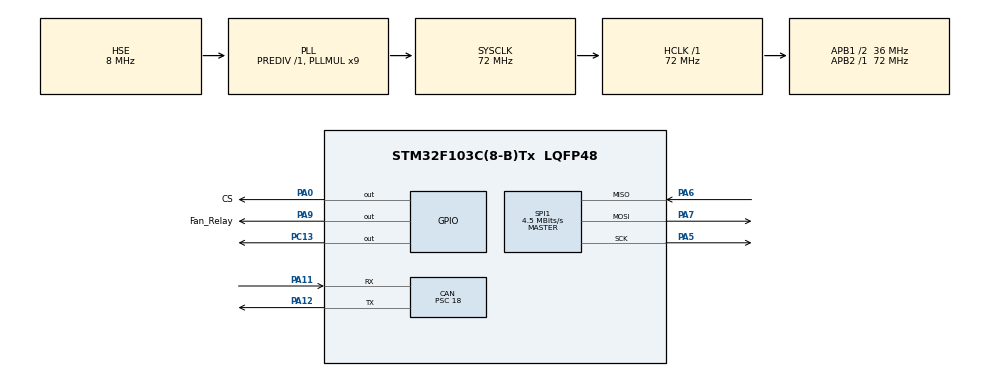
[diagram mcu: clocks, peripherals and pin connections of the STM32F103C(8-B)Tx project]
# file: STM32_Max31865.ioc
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CAN.BS1=CAN_BS1_2TQ
CAN.CalculateBaudRate=500000
CAN.CalculateTimeBit=2000
CAN.CalculateTimeQuantum=500.0
CAN.Mode=CAN_MODE_NORMAL
CAN.Prescaler=18
Mcu.Family=STM32F1
Mcu.Name=STM32F103C(8-B)Tx
Mcu.Package=LQFP48
NVIC.PriorityGroup=NVIC_PRIORITYGROUP_4
NVIC.USB_LP_CAN1_RX0_IRQn=true\:0\:0\:false\:false\:true\:true\:true\:true
PA0-WKUP.GPIO_Label=CS
PA0-WKUP.Signal=GPIO_Output
PA11.Mode=CAN_Activate
PA11.Signal=CAN_RX
PA12.Mode=CAN_Activate
PA12.Signal=CAN_TX
PA13.Mode=Serial_Wire
PA13.Signal=SYS_JTMS-SWDIO
PA14.Mode=Serial_Wire
PA14.Signal=SYS_JTCK-SWCLK
PA5.Mode=Full_Duplex_Master
PA5.Signal=SPI1_SCK
PA6.Mode=Full_Duplex_Master
PA6.Signal=SPI1_MISO
PA7.Mode=Full_Duplex_Master
PA7.Signal=SPI1_MOSI
PA9.GPIO_Label=Fan_Relay
PA9.Signal=GPIO_Output
PC13-TAMPER-RTC.Signal=GPIO_Output
PD0-OSC_IN.Mode=HSE-External-Oscillator
PD0-OSC_IN.Signal=RCC_OSC_IN
PD1-OSC_OUT.Mode=HSE-External-Oscillator
PD1-OSC_OUT.Signal=RCC_OSC_OUT
ProjectManager.HeapSize=0x200
ProjectManager.StackSize=0x400
ProjectManager.TargetToolchain=STM32CubeIDE
RCC.AHBFreq_Value=72000000
RCC.APB1CLKDivider=RCC_HCLK_DIV2
RCC.APB1Freq_Value=36000000
RCC.APB1TimFreq_Value=72000000
RCC.APB2Freq_Value=72000000
RCC.APB2TimFreq_Value=72000000
RCC.HCLKFreq_Value=72000000
RCC.PLLMUL=RCC_PLL_MUL9
RCC.PLLSourceVirtual=RCC_PLLSOURCE_HSE
RCC.SYSCLKFreq_VALUE=72000000
RCC.SYSCLKSource=RCC_SYSCLKSOURCE_PLLCLK
RCC.USBFreq_Value=72000000
SPI1.BaudRatePrescaler=SPI_BAUDRATEPRESCALER_16
SPI1.CLKPhase=SPI_PHASE_2EDGE
SPI1.CalculateBaudRate=4.5 MBits/s
SPI1.Direction=SPI_DIRECTION_2LINES
SPI1.Mode=SPI_MODE_MASTER
SPI1.VirtualType=VM_MASTER
board=custom

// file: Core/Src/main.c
/* USER CODE BEGIN Header */
/**
  ******************************************************************************
  * @file           : main.c
  * @brief          : Main program body
  ******************************************************************************
  * @attention
  *
  * <h2><center>&copy; Copyright (c) 2021 STMicroelectronics.
  * All rights reserved.</center></h2>
  *
  * This software component is licensed by ST under BSD 3-Clause license,
  * the "License"; You may not use this file except in compliance with the
  * License. You may obtain a copy of the License at:
  *                        opensource.org/licenses/BSD-3-Clause
  *
  ******************************************************************************
  */
/* USER CODE END Header */
#include "main.h"
#include "stdbool.h"
/* USER CODE BEGIN Includes */
#include "MAX31865_lib.h"
/* USER CODE END Includes */

CAN_HandleTypeDef hcan;

SPI_HandleTypeDef hspi1;

/* USER CODE BEGIN PV */
float PT100_Temperature;
uint8_t PSI_value;
/* USER CODE END PV */

void SystemClock_Config(void);
static void MX_GPIO_Init(void);
static void MX_SPI1_Init(void);
static void MX_CAN_Init(void);

/* USER CODE BEGIN 0 */

CAN_TxHeaderTypeDef TxHeader;
CAN_RxHeaderTypeDef RxHeader;

uint8_t TxData[8];
uint8_t RxData[8];

uint16_t temp;

uint32_t TxMailbox;

uint32_t previousMillis = 0; // Biến lưu th�?i điểm trước đó
const uint32_t interval = 500; // Chu kỳ 500ms

int datacheck = 0;

bool fan_mode = 0;	// 0 mean auto control, 1 mean manual control
bool fan_status = 0; // 0 mean off, 1 mean on

void readTemperatureNonBlocking()
{
    uint32_t currentMillis = HAL_GetTick(); // Lấy th�?i gian hiện tại

    if (currentMillis - previousMillis >= interval)
    {
        previousMillis = currentMillis; // Cập nhật th�?i gian mới nhất

        // �?�?c nhiệt độ từ cảm biến PT100
        PT100_Temperature = MAX31865_Get_Temperature();
    }
}

void HAL_CAN_RxFifo0MsgPendingCallback(CAN_HandleTypeDef *hcan)
{
	HAL_CAN_GetRxMessage(hcan, CAN_RX_FIFO0, &RxHeader, RxData);
	if (RxHeader.DLC == 2)
	{
		datacheck = 1;
	}
}

/* USER CODE END 0 */

int main(void)
{

  /* MCU Configuration--------------------------------------------------------*/

  /* Reset of all peripherals, Initializes the Flash interface and the Systick. */
  HAL_Init();

  /* Configure the system clock */
  SystemClock_Config();

  /* Initialize all configured peripherals */
  MX_GPIO_Init();
  MX_SPI1_Init();
  MX_CAN_Init();
  /* USER CODE BEGIN 2 */

  HAL_CAN_Start(&hcan);

  // Activate the notification
  HAL_CAN_ActivateNotification(&hcan, CAN_IT_RX_FIFO0_MSG_PENDING);

  TxHeader.DLC = 2;  // data length
  TxHeader.IDE = CAN_ID_STD;
  TxHeader.RTR = CAN_RTR_DATA;
  TxHeader.StdId = 0x446;  // ID

  //TxData[0] = 100;   // ms Delay
  //TxData[1] = 40;    // loop rep

  //HAL_CAN_AddTxMessage(&hcan, &TxHeader, TxData, &TxMailbox);

  PT100_Temperature = 0;
  MAX31865_Init(3);

  /* USER CODE END 2 */

  /* Infinite loop */
  while (1)
  {

    /* USER CODE BEGIN 3 */
	  readTemperatureNonBlocking();
	  if(RxData[0] == 0)
	  {
		  if(PT100_Temperature > 33)
		  {
			  HAL_GPIO_WritePin(GPIOA, Fan_Relay_Pin, 1);
		  }
		  else
		  {
 			  HAL_GPIO_WritePin(GPIOA, Fan_Relay_Pin, 0);
		  }
	  }
	  else
	  {
		  if(RxData[1] == 0)
		  {
			  HAL_GPIO_WritePin(GPIOA, Fan_Relay_Pin, 0);
		  }
		  else
		  {
			  HAL_GPIO_WritePin(GPIOA, Fan_Relay_Pin, 1);
		  }

	  }

	  if (datacheck)
	  {
		  datacheck = 0;

		  temp = (uint32_t)(PT100_Temperature * 100);  // Nhân với 100 để giữ 2 chữ số thập phân

		  // Tách thành 2 phần 16-bit
		  TxData[0] = (uint8_t)(temp >> 8);   // Lấy byte cao
		  TxData[1] = (uint8_t)(temp & 0xFF); // Lấy byte thấp

		  HAL_CAN_AddTxMessage(&hcan, &TxHeader, TxData, &TxMailbox);

	  }
  }
  /* USER CODE END 3 */
}

void SystemClock_Config(void)
{
  RCC_OscInitTypeDef RCC_OscInitStruct = {0};
  RCC_ClkInitTypeDef RCC_ClkInitStruct = {0};

  /** Initializes the RCC Oscillators according to the specified parameters
  * in the RCC_OscInitTypeDef structure.
  */
  RCC_OscInitStruct.OscillatorType = RCC_OSCILLATORTYPE_HSE;
  RCC_OscInitStruct.HSEState = RCC_HSE_ON;
  RCC_OscInitStruct.HSEPredivValue = RCC_HSE_PREDIV_DIV1;
  RCC_OscInitStruct.HSIState = RCC_HSI_ON;
  RCC_OscInitStruct.PLL.PLLState = RCC_PLL_ON;
  RCC_OscInitStruct.PLL.PLLSource = RCC_PLLSOURCE_HSE;
  RCC_OscInitStruct.PLL.PLLMUL = RCC_PLL_MUL9;
  if (HAL_RCC_OscConfig(&RCC_OscInitStruct) != HAL_OK)
  {
    Error_Handler();
  }

  /** Initializes the CPU, AHB and APB buses clocks
  */
  RCC_ClkInitStruct.ClockType = RCC_CLOCKTYPE_HCLK|RCC_CLOCKTYPE_SYSCLK
                              |RCC_CLOCKTYPE_PCLK1|RCC_CLOCKTYPE_PCLK2;
  RCC_ClkInitStruct.SYSCLKSource = RCC_SYSCLKSOURCE_PLLCLK;
  RCC_ClkInitStruct.AHBCLKDivider = RCC_SYSCLK_DIV1;
  RCC_ClkInitStruct.APB1CLKDivider = RCC_HCLK_DIV2;
  RCC_ClkInitStruct.APB2CLKDivider = RCC_HCLK_DIV1;

  if (HAL_RCC_ClockConfig(&RCC_ClkInitStruct, FLASH_LATENCY_2) != HAL_OK)
  {
    Error_Handler();
  }
}

static void MX_CAN_Init(void)
{

  hcan.Instance = CAN1;
  hcan.Init.Prescaler = 18;
  hcan.Init.Mode = CAN_MODE_NORMAL;
  hcan.Init.SyncJumpWidth = CAN_SJW_1TQ;
  hcan.Init.TimeSeg1 = CAN_BS1_2TQ;
  hcan.Init.TimeSeg2 = CAN_BS2_1TQ;
  hcan.Init.TimeTriggeredMode = DISABLE;
  hcan.Init.AutoBusOff = DISABLE;
  hcan.Init.AutoWakeUp = DISABLE;
  hcan.Init.AutoRetransmission = DISABLE;
  hcan.Init.ReceiveFifoLocked = DISABLE;
  hcan.Init.TransmitFifoPriority = DISABLE;
  if (HAL_CAN_Init(&hcan) != HAL_OK)
  {
    Error_Handler();
  }
  /* USER CODE BEGIN CAN_Init 2 */
  CAN_FilterTypeDef canfilterconfig;

    canfilterconfig.FilterActivation = CAN_FILTER_ENABLE;
    canfilterconfig.FilterBank = 12;  // which filter bank to use from the assigned ones
    canfilterconfig.FilterFIFOAssignment = CAN_FILTER_FIFO0;
    canfilterconfig.FilterIdHigh = 0x047<<5;		// for ESP32
    //canfilterconfig.FilterIdHigh = 0x103<<5;		// for testing
    canfilterconfig.FilterIdLow = 0;
    canfilterconfig.FilterMaskIdHigh = 0xFFF<<5;
    canfilterconfig.FilterMaskIdLow = 0x0000;
    canfilterconfig.FilterMode = CAN_FILTERMODE_IDMASK;
    canfilterconfig.FilterScale = CAN_FILTERSCALE_32BIT;
    canfilterconfig.SlaveStartFilterBank = 20;  // how many filters to assign to the CAN1 (master can)

    HAL_CAN_ConfigFilter(&hcan, &canfilterconfig);

  /* USER CODE END CAN_Init 2 */

}

static void MX_SPI1_Init(void)
{

  /* SPI1 parameter configuration*/
  hspi1.Instance = SPI1;
  hspi1.Init.Mode = SPI_MODE_MASTER;
  hspi1.Init.Direction = SPI_DIRECTION_2LINES;
  hspi1.Init.DataSize = SPI_DATASIZE_8BIT;
  hspi1.Init.CLKPolarity = SPI_POLARITY_LOW;
  hspi1.Init.CLKPhase = SPI_PHASE_2EDGE;
  hspi1.Init.NSS = SPI_NSS_SOFT;
  hspi1.Init.BaudRatePrescaler = SPI_BAUDRATEPRESCALER_16;
  hspi1.Init.FirstBit = SPI_FIRSTBIT_MSB;
  hspi1.Init.TIMode = SPI_TIMODE_DISABLE;
  hspi1.Init.CRCCalculation = SPI_CRCCALCULATION_DISABLE;
  hspi1.Init.CRCPolynomial = 10;
  if (HAL_SPI_Init(&hspi1) != HAL_OK)
  {
    Error_Handler();
  }

}

static void MX_GPIO_Init(void)
{
  GPIO_InitTypeDef GPIO_InitStruct = {0};

  /* GPIO Ports Clock Enable */
  __HAL_RCC_GPIOC_CLK_ENABLE();
  __HAL_RCC_GPIOD_CLK_ENABLE();
  __HAL_RCC_GPIOA_CLK_ENABLE();

  /*Configure GPIO pin Output Level */
  HAL_GPIO_WritePin(GPIOC, GPIO_PIN_13, GPIO_PIN_RESET);

  /*Configure GPIO pin Output Level */
  HAL_GPIO_WritePin(GPIOA, CS_Pin|Fan_Relay_Pin, GPIO_PIN_RESET);

  /*Configure GPIO pin : PC13 */
  GPIO_InitStruct.Pin = GPIO_PIN_13;
  GPIO_InitStruct.Mode = GPIO_MODE_OUTPUT_PP;
  GPIO_InitStruct.Pull = GPIO_NOPULL;
  GPIO_InitStruct.Speed = GPIO_SPEED_FREQ_LOW;
  HAL_GPIO_Init(GPIOC, &GPIO_InitStruct);

  /*Configure GPIO pins : CS_Pin Fan_Relay_Pin */
  GPIO_InitStruct.Pin = CS_Pin|Fan_Relay_Pin;
  GPIO_InitStruct.Mode = GPIO_MODE_OUTPUT_PP;
  GPIO_InitStruct.Pull = GPIO_NOPULL;
  GPIO_InitStruct.Speed = GPIO_SPEED_FREQ_LOW;
  HAL_GPIO_Init(GPIOA, &GPIO_InitStruct);

}

void Error_Handler(void)
{
  __disable_irq();
  while (1)
  {
  }
}
